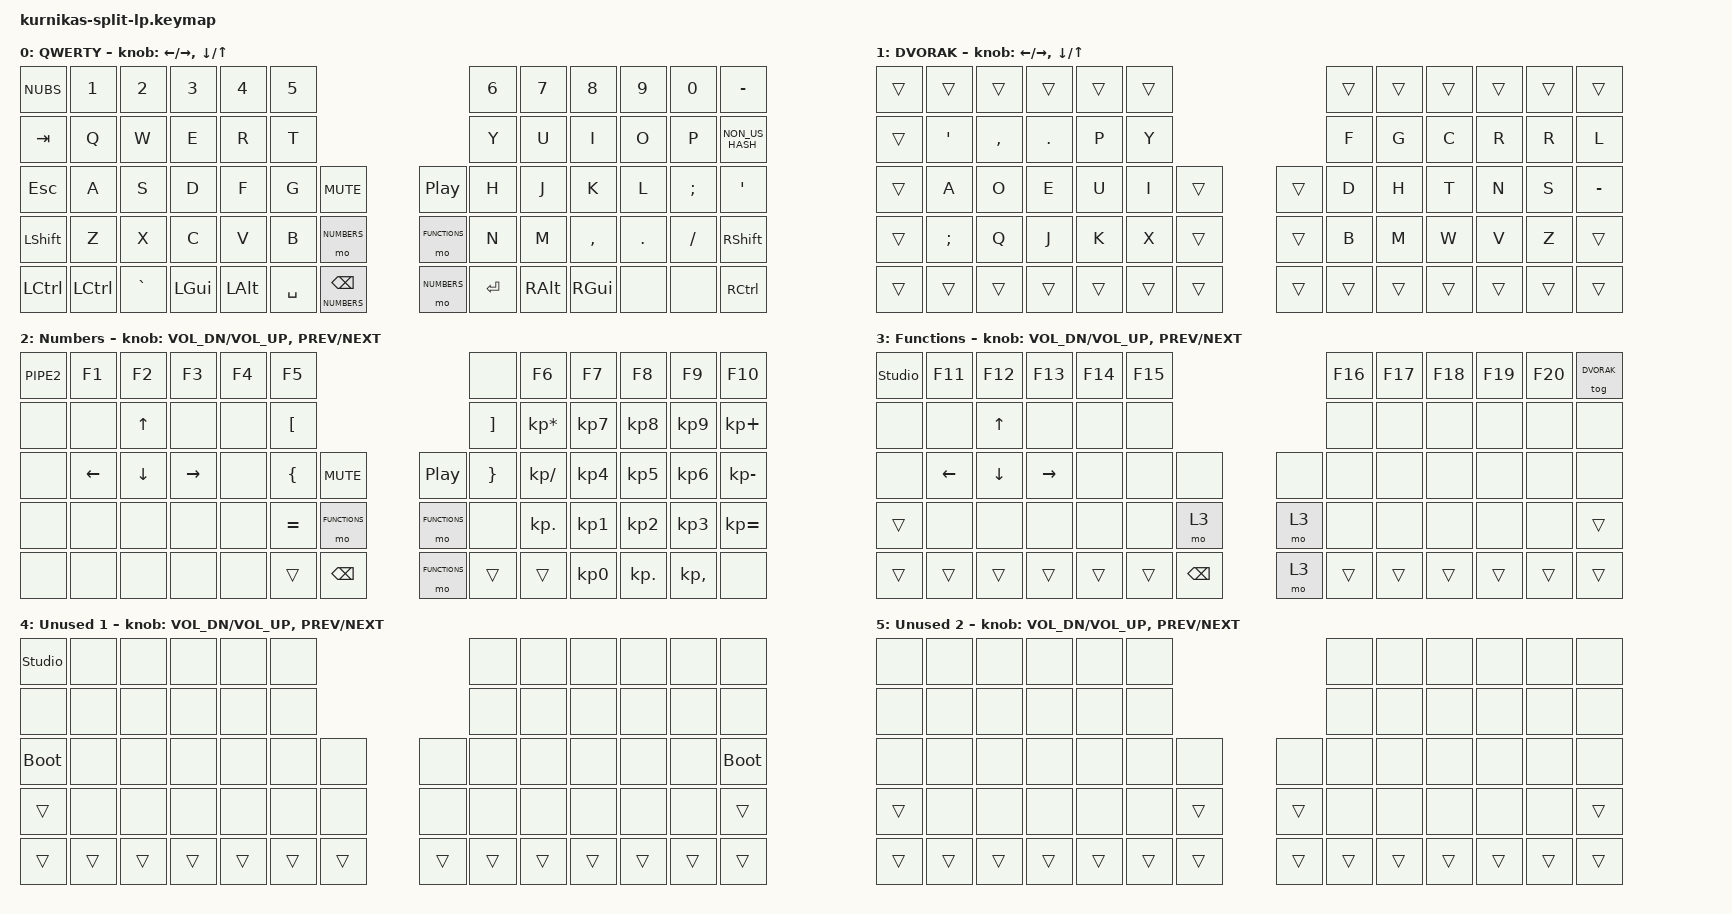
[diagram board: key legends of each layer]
#include <behaviors.dtsi>
#include <dt-bindings/zmk/keys.h>
#define QWERTY 0
#define DVORAK 1
#define NUMBERS 2
#define FUNCTIONS 3

/ {
    keymap {
        compatible = "zmk,keymap";

        default_layer { // Layer 0
            display-name = "QWERTY";
            bindings = <
                &kp NUBS    &kp N1    &kp N2    &kp N3      &kp N4      &kp N5                                              &kp N6        &kp N7     &kp N8      &kp N9    &kp N0         &kp MINUS
                &kp TAB     &kp Q     &kp W     &kp E       &kp R       &kp T                                               &kp Y         &kp U      &kp I       &kp O     &kp P          &kp NON_US_HASH
                &kp ESC     &kp A     &kp S     &kp D       &kp F       &kp G        &kp C_MUTE               &kp C_PP      &kp H         &kp J      &kp K       &kp L     &kp SEMICOLON  &kp SINGLE_QUOTE
                &kp LSHIFT  &kp Z     &kp X     &kp C       &kp V       &kp B        &mo NUMBERS              &mo FUNCTIONS &kp N         &kp M      &kp COMMA   &kp DOT   &kp SLASH      &kp RSHIFT     
                &kp LCTRL   &kp LCTRL &kp GRAVE &kp LGUI    &kp LALT    &kp SPACE    &lt NUMBERS BACKSPACE    &mo NUMBERS   &kp ENTER     &kp RALT   &kp RGUI    &none     &none          &kp RCTRL
            >;
            sensor-bindings = <&inc_dec_kp LEFT RIGHT &inc_dec_kp DOWN UP>;
        };
        dvorak { 
            display-name = "DVORAK";
            bindings = <
                &trans   &trans   &trans    &trans     &trans     &trans                               &trans   &trans   &trans     &trans      &trans        &trans
                &trans   &kp SQT  &kp COMMA &kp PERIOD &kp P      &kp Y                                &kp F    &kp G    &kp C      &kp R       &kp R         &kp L 
                &trans   &kp A    &kp O     &kp E      &kp U      &kp I       &trans          &trans   &kp D    &kp H    &kp T      &kp N       &kp S         &kp MINUS
                &trans   &kp SEMI &kp Q     &kp J      &kp K      &kp X       &trans          &trans   &kp B    &kp M    &kp W      &kp V       &kp Z         &trans
                &trans   &trans   &trans    &trans     &trans     &trans      &trans          &trans   &trans   &trans   &trans     &trans      &trans        &trans
            >;
            sensor-bindings = <&inc_dec_kp LEFT RIGHT &inc_dec_kp DOWN UP>;
        };
        numbers { 
            display-name = "Numbers";
            bindings = <
                &kp PIPE2 &kp F1    &kp F2    &kp F3      &kp F4      &kp F5                                      &none     &kp F6           &kp F7     &kp F8      &kp F9        &kp F10
                &none     &none     &kp UP    &none       &none       &kp LBKT                                    &kp RBKT  &kp KP_ASTERISK  &kp KP_N7  &kp KP_N8   &kp KP_N9     &kp KP_PLUS
                &none     &kp LEFT  &kp DOWN  &kp RIGHT   &none       &kp LBRC     &kp C_MUTE       &kp C_PP      &kp RBRC  &kp KP_SLASH     &kp KP_N4  &kp KP_N5   &kp KP_N6     &kp KP_MINUS
                &none     &none     &none     &none       &none       &kp EQUAL    &mo FUNCTIONS    &mo FUNCTIONS &none     &kp KP_DOT       &kp KP_N1  &kp KP_N2   &kp KP_N3     &kp KP_EQUAL
                &none     &none     &none     &none       &none       &trans       &kp BACKSPACE    &mo FUNCTIONS &trans    &trans           &kp KP_N0  &kp KP_DOT  &kp KP_COMMA  &none
            >;
            sensor-bindings = <&inc_dec_kp C_VOL_DN C_VOL_UP &inc_dec_kp C_PREV C_NEXT>;
        };
        functions {
            display-name = "Functions";
            bindings = <
                &studio_unlock &kp F11   &kp F12   &kp F13     &kp F14     &kp F15                                 &kp F16   &kp F17   &kp F18     &kp F19      &kp F20        &tog DVORAK
                &none          &none     &kp UP    &none       &none       &none                                   &none     &none     &none       &none        &none          &none 
                &none          &kp LEFT  &kp DOWN  &kp RIGHT   &none       &none        &none            &none     &none     &none     &none       &none        &none          &none 
                &trans         &none     &none     &none       &none       &none        &mo 3            &mo 3     &none     &none     &none       &none        &none          &trans
                &trans         &trans    &trans    &trans      &trans      &trans       &kp BACKSPACE    &mo 3     &trans    &trans    &trans      &trans       &trans         &trans
            >;
            sensor-bindings = <&inc_dec_kp C_VOL_DN C_VOL_UP &inc_dec_kp C_PREV C_NEXT>;
        };
        layer_3 {
            display-name = "Unused 1";
            bindings = <
                &studio_unlock   &none    &none    &none      &none      &none                                &none    &none    &none      &none       &none         &none
                &none            &none    &none    &none      &none      &none                                &none    &none    &none      &none       &none         &none
                &bootloader      &none    &none    &none      &none      &none       &none           &none    &none    &none    &none      &none       &none         &bootloader
                &trans           &none    &none    &none      &none      &none       &none           &none    &none    &none    &none      &none       &none         &trans
                &trans           &trans   &trans   &trans     &trans     &trans      &trans          &trans   &trans   &trans   &trans     &trans      &trans        &trans
            >;
            sensor-bindings = <&inc_dec_kp C_VOL_DN C_VOL_UP &inc_dec_kp C_PREV C_NEXT>;
        };
        layer_4 { // Layer 4
            display-name = "Unused 2";
            bindings = <
                &none    &none    &none    &none      &none      &none                                &none    &none    &none      &none       &none         &none
                &none    &none    &none    &none      &none      &none                                &none    &none    &none      &none       &none         &none
                &none    &none    &none    &none      &none      &none       &none           &none    &none    &none    &none      &none       &none         &none
                &trans   &none    &none    &none      &none      &none       &trans          &trans   &none    &none    &none      &none       &none         &trans
                &trans   &trans   &trans   &trans     &trans     &trans      &trans          &trans   &trans   &trans   &trans     &trans      &trans        &trans
            >;
            sensor-bindings = <&inc_dec_kp C_VOL_DN C_VOL_UP &inc_dec_kp C_PREV C_NEXT>;
        };
    };
 };



